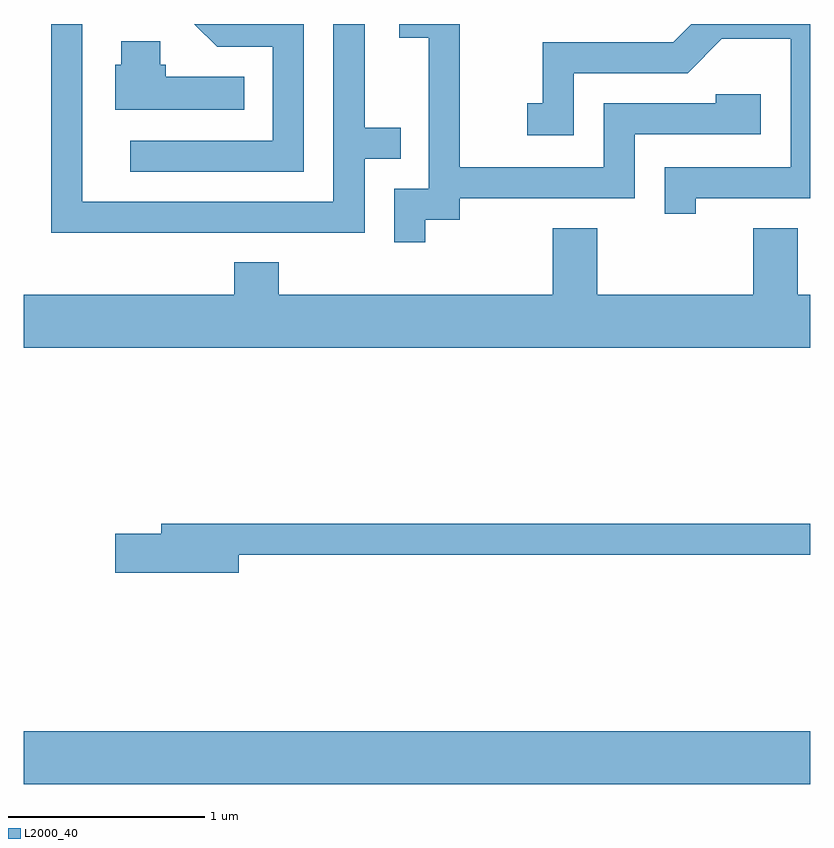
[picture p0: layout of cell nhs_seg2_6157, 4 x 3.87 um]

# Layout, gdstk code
import gdstk
lib = gdstk.Library(unit=1e-6, precision=1e-09)
def R(c, l, rs):  # rectangles x0, y0, x1, y1
    for r in rs: c.add(gdstk.rectangle(r[:2], r[2:], *l))
def P(c, l, *ps):  # polygons
    for p in ps: c.add(gdstk.Polygon(p, *l))
L2000_40 = (2000, 40)

nhs_seg2_6157 = lib.new_cell('nhs_seg2_6157')
R(nhs_seg2_6157, L2000_40, [(367.611,983.936,371.611,984.204)])
P(nhs_seg2_6157, L2000_40, [(369.344,987.116),(369.528,987.116),(369.528,987.274),(369.344,987.274),(369.344,987.802),(369.186,987.802),(369.186,986.899),(367.909,986.899),(367.909,987.802),(367.751,987.802),(367.751,986.741),(369.344,986.741)],
  [(369.654,986.806),(369.829,986.806),(369.829,986.916),(370.719,986.916),(370.719,987.241),(371.359,987.241),(371.359,987.444),(371.131,987.444),(371.131,987.399),(370.561,987.399),(370.561,987.074),(369.829,987.074),(369.829,987.802),(369.521,987.802),(369.521,987.731),(369.671,987.731),(369.671,986.964),(369.496,986.964),(369.496,986.693),(369.654,986.693)],
  [(371.029,986.916),(371.611,986.916),(371.611,987.802),(371.007,987.802),(370.914,987.709),(370.251,987.709),(370.251,987.399),(370.173,987.399),(370.173,987.236),(370.409,987.236),(370.409,987.551),(370.987,987.551),(371.162,987.726),(371.511,987.726),(371.511,987.074),(370.871,987.074),(370.871,986.838),(371.029,986.838)],
  [(369.034,987.802),(368.478,987.802),(368.594,987.686),(368.876,987.686),(368.876,987.209),(368.153,987.209),(368.153,987.051),(369.034,987.051)],
  [(368.733,987.534),(368.334,987.534),(368.334,987.594),(368.304,987.594),(368.304,987.714),(368.106,987.714),(368.106,987.594),(368.076,987.594),(368.076,987.366),(368.733,987.366)],
  [(371.611,986.424),(371.549,986.424),(371.549,986.764),(371.321,986.764),(371.321,986.424),(370.529,986.424),(370.529,986.764),(370.301,986.764),(370.301,986.424),(368.909,986.424),(368.909,986.589),(368.681,986.589),(368.681,986.424),(367.611,986.424),(367.611,986.156),(371.611,986.156)],
  [(368.704,985.101),(371.611,985.101),(371.611,985.259),(368.311,985.259),(368.311,985.209),(368.076,985.209),(368.076,985.011),(368.704,985.011)])

lib.write_gds('nhs_seg2_6157.gds')
